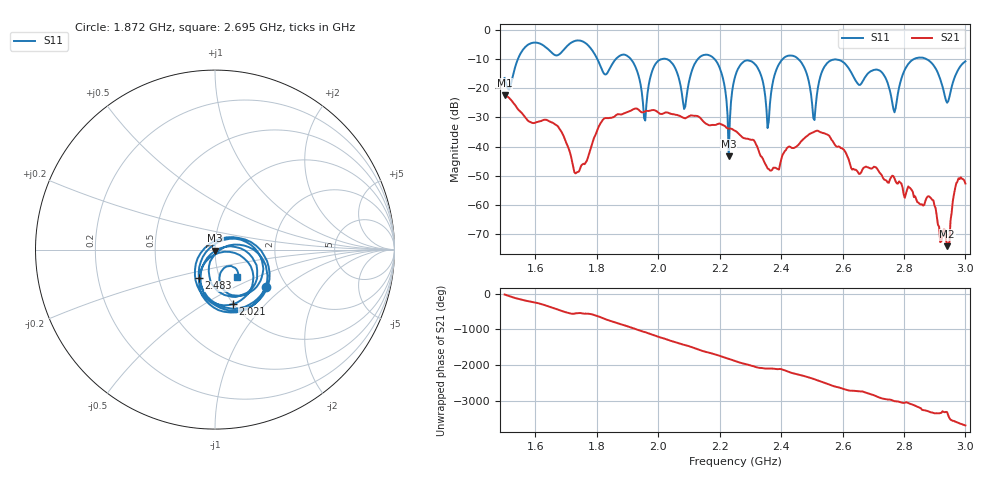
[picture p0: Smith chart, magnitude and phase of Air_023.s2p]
# HZ S RI R 50
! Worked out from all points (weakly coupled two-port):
!   404 points, 1.5 GHz to 3 GHz, reference 50 ohm
!   highest |S21| = -22.50 dB at 1.5 GHz (marker M1); lowest = -74.1 dB at 2.94 GHz (marker M2)
!   lowest |S11| = -43.3 dB at 2.23 GHz (marker M3), VSWR 1.01, Z = 50 - j0.681 ohm
!   |S11| at or under -10 dB: 2.183 GHz to 2.405 GHz (222.3 MHz wide, 9.69 % of centre); 2.456 GHz to 2.833 GHz (376.9 MHz wide, 14.3 % of centre); 2.873 GHz to end of sweep (the widest 3 of 7)
!   S12 and S22 are empty: the file has one direction only
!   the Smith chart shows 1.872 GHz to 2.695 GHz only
!   S11 on the Smith chart (normalised r, x): 1.872 GHz: 1.57, -0.75; 2.021 GHz: 1.00, -0.68; 2.483 GHz: 0.80, -0.26; 2.695 GHz: 1.21, -0.39
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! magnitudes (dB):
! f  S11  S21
! 1.5 GHz  -16.5  -22.5
! 1.753 GHz  -3.9  -46.1
! 1.872 GHz  -9.1  -28.9
! 1.958 GHz  -31.1  -27.9
! 2.002 GHz  -10.4  -28.5
! 2.021 GHz  -9.9  -28.5
! 2.084 GHz  -27.1  -30.2
! 2.181 GHz  -9.8  -32.6
! 2.23 GHz  -43.3  -33.9
! 2.252 GHz  -15.5  -34.7
! 2.315 GHz  -11.8  -38.5
! 2.356 GHz  -33.7  -47.5
! 2.408 GHz  -9.7  -42.3
! 2.483 GHz  -14.8  -36.6
! 2.501 GHz  -25.6  -35.3
! 2.561 GHz  -10.6  -37.0
! 2.695 GHz  -14.0  -47.6
! 2.751 GHz  -19.5  -52.4
! 2.862 GHz  -9.6  -60.2
! 2.94 GHz  -25.0  -74.1
! 2.97 GHz  -15.0  -52.6
! 3 GHz  -10.8  -52.7
